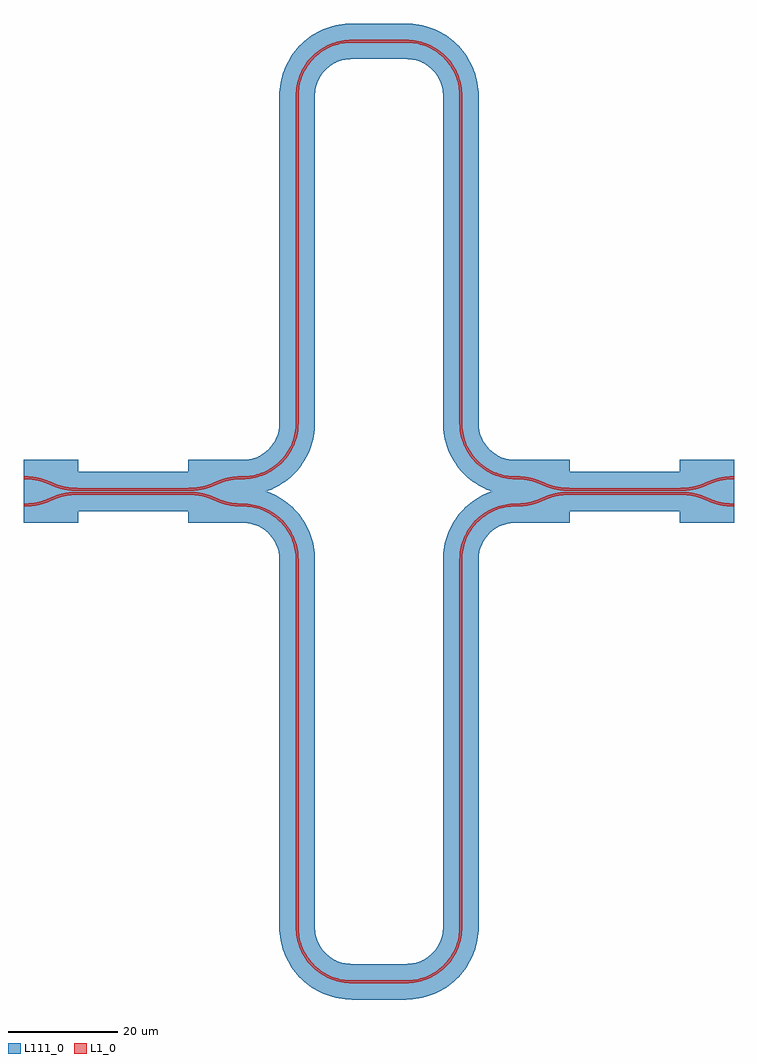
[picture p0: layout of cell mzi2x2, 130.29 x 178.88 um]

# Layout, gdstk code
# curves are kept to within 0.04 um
import gdstk
lib = gdstk.Library(unit=1e-6, precision=1e-09)
def R(c, l, rs):  # rectangles x0, y0, x1, y1
    for r in rs: c.add(gdstk.rectangle(r[:2], r[2:], *l))
def P(c, l, *ps):  # polygons
    for p in ps: c.add(gdstk.Polygon(p, *l))
L1_0 = (1, 0)
L111_0 = (111, 0)

mzi2x2 = lib.new_cell('mzi2x2')
R(mzi2x2, L1_0, [(20,-92.63,30,-92.13), (9.75,-82.38,10.25,-22.38), (39.75,-82.38,40.25,-22.38), (9.75,-22.38,10.25,-15), (39.75,-22.38,40.25,-15), (-30.147,-3.117,-10,-2.617), (60,-3.117,80.147,-2.617), (-30.147,-2.383,-10,-1.883), (60,-2.383,80.147,-1.883), (9.75,10,10.25,70), (39.75,10,40.25,70), (20,79.75,30,80.25)])
P(mzi2x2, L1_0, [(-30.147,-3.117),(-31.748,-3.203),(-33.1,-3.454),(-34.122,-3.783),(-36.334,-4.674),(-37.575,-5.015),(-38.738,-5.187),(-40.147,-5.25),(-40.147,-4.75),(-38.546,-4.664),(-37.194,-4.413),(-36.172,-4.084),(-33.96,-3.193),(-32.719,-2.852),(-31.556,-2.68),(-30.147,-2.617)],
  [(-30.147,-1.883),(-31.748,-1.797),(-33.1,-1.546),(-34.122,-1.217),(-36.334,-0.326),(-37.575,0.015),(-38.738,0.187),(-40.147,0.25),(-40.147,-0.25),(-38.546,-0.336),(-37.194,-0.587),(-36.172,-0.916),(-33.96,-1.807),(-32.719,-2.148),(-31.556,-2.32),(-30.147,-2.383)],
  [(-10,-1.883),(-8.399,-1.797),(-7.047,-1.546),(-6.025,-1.217),(-3.813,-0.326),(-2.572,0.015),(-1.409,0.187),(0,0.25),(0,-0.25),(-1.601,-0.336),(-2.953,-0.587),(-3.975,-0.916),(-6.187,-1.807),(-7.428,-2.148),(-8.591,-2.32),(-10,-2.383)],
  [(-10,-3.117),(-8.399,-3.203),(-7.047,-3.454),(-6.025,-3.783),(-3.813,-4.674),(-2.572,-5.015),(-1.409,-5.187),(0,-5.25),(0,-4.75),(-1.601,-4.664),(-2.953,-4.413),(-3.975,-4.084),(-6.187,-3.193),(-7.428,-2.852),(-8.591,-2.68),(-10,-2.617)],
  [(9.75,10),(9.593,8.259),(9.128,6.574),(8.37,4.999),(7.623,3.921),(7.047,3.262),(5.731,2.112),(4.23,1.216),(3.013,0.727),(2.17,0.494),(0.874,0.289),(0,0.25),(0,-0.25),(0.919,-0.209),(2.281,0.007),(3.167,0.252),(4.029,0.575),(4.857,0.974),(5.647,1.446),(6.391,1.986),(7.409,2.917),(8.014,3.609),(8.799,4.743),(9.425,5.971),(9.748,6.833),(9.993,7.719),(10.157,8.624),(10.25,10)],
  [(10.25,70),(10.407,71.741),(10.872,73.426),(11.63,75.001),(12.377,76.079),(12.953,76.738),(14.269,77.888),(15.77,78.784),(16.987,79.273),(17.83,79.506),(19.126,79.711),(20,79.75),(20,80.25),(19.081,80.209),(17.719,79.993),(16.833,79.748),(15.971,79.425),(15.143,79.026),(14.353,78.554),(13.609,78.014),(12.591,77.083),(11.986,76.391),(11.201,75.257),(10.575,74.029),(10.252,73.167),(10.007,72.281),(9.843,71.376),(9.75,70)],
  [(30,79.75),(31.741,79.593),(33.426,79.128),(35.001,78.37),(36.079,77.623),(36.738,77.047),(37.888,75.731),(38.784,74.23),(39.273,73.013),(39.506,72.17),(39.711,70.874),(39.75,70),(40.25,70),(40.209,70.919),(39.993,72.281),(39.748,73.167),(39.425,74.029),(39.026,74.857),(38.554,75.647),(38.014,76.391),(37.083,77.409),(36.391,78.014),(35.257,78.799),(34.029,79.425),(33.167,79.748),(32.281,79.993),(31.376,80.157),(30,80.25)],
  [(50,0.25),(48.259,0.407),(46.574,0.872),(44.999,1.63),(43.921,2.377),(43.262,2.953),(42.112,4.269),(41.216,5.77),(40.727,6.987),(40.494,7.83),(40.289,9.126),(40.25,10),(39.75,10),(39.791,9.081),(40.007,7.719),(40.252,6.833),(40.575,5.971),(40.974,5.143),(41.446,4.353),(41.986,3.609),(42.917,2.591),(43.609,1.986),(44.743,1.201),(45.971,0.575),(46.833,0.252),(47.719,0.007),(48.624,-0.157),(50,-0.25)],
  [(60,-3.117),(58.399,-3.203),(57.047,-3.454),(56.025,-3.783),(53.813,-4.674),(52.572,-5.015),(51.409,-5.187),(50,-5.25),(50,-4.75),(51.601,-4.664),(52.953,-4.413),(53.975,-4.084),(56.187,-3.193),(57.428,-2.852),(58.591,-2.68),(60,-2.617)],
  [(60,-1.883),(58.399,-1.797),(57.047,-1.546),(56.025,-1.217),(53.813,-0.326),(52.572,0.015),(51.409,0.187),(50,0.25),(50,-0.25),(51.601,-0.336),(52.953,-0.587),(53.975,-0.916),(56.187,-1.807),(57.428,-2.148),(58.591,-2.32),(60,-2.383)],
  [(80.147,-1.883),(81.748,-1.797),(83.1,-1.546),(84.122,-1.217),(86.334,-0.326),(87.575,0.015),(88.738,0.187),(90.147,0.25),(90.147,-0.25),(88.546,-0.336),(87.194,-0.587),(86.172,-0.916),(83.96,-1.807),(82.719,-2.148),(81.556,-2.32),(80.147,-2.383)],
  [(80.147,-3.117),(81.748,-3.203),(83.1,-3.454),(84.122,-3.783),(86.334,-4.674),(87.575,-5.015),(88.738,-5.187),(90.147,-5.25),(90.147,-4.75),(88.546,-4.664),(87.194,-4.413),(86.172,-4.084),(83.96,-3.193),(82.719,-2.852),(81.556,-2.68),(80.147,-2.617)],
  [(9.75,-15),(9.593,-13.259),(9.128,-11.574),(8.37,-9.999),(7.623,-8.921),(7.047,-8.262),(5.731,-7.112),(4.23,-6.216),(3.013,-5.727),(2.17,-5.494),(0.874,-5.289),(0,-5.25),(0,-4.75),(0.919,-4.791),(2.281,-5.007),(3.167,-5.252),(4.029,-5.575),(4.857,-5.974),(5.647,-6.446),(6.391,-6.986),(7.409,-7.917),(8.014,-8.609),(8.799,-9.743),(9.425,-10.971),(9.748,-11.833),(9.993,-12.719),(10.157,-13.624),(10.25,-15)],
  [(10.25,-82.38),(10.407,-84.121),(10.872,-85.806),(11.63,-87.381),(12.377,-88.459),(12.953,-89.118),(14.269,-90.268),(15.77,-91.164),(16.987,-91.653),(17.83,-91.886),(19.126,-92.091),(20,-92.13),(20,-92.63),(19.081,-92.589),(17.719,-92.373),(16.833,-92.128),(15.971,-91.805),(15.143,-91.406),(14.353,-90.934),(13.609,-90.394),(12.591,-89.463),(11.986,-88.771),(11.201,-87.637),(10.575,-86.409),(10.252,-85.547),(10.007,-84.661),(9.843,-83.756),(9.75,-82.38)],
  [(30,-92.13),(31.741,-91.973),(33.426,-91.508),(35.001,-90.75),(36.079,-90.003),(36.738,-89.427),(37.888,-88.111),(38.784,-86.61),(39.273,-85.393),(39.506,-84.55),(39.711,-83.254),(39.75,-82.38),(40.25,-82.38),(40.209,-83.299),(39.993,-84.661),(39.748,-85.547),(39.425,-86.409),(39.026,-87.237),(38.554,-88.027),(38.014,-88.771),(37.083,-89.789),(36.391,-90.394),(35.257,-91.179),(34.029,-91.805),(33.167,-92.128),(32.281,-92.373),(31.376,-92.537),(30,-92.63)],
  [(50,-5.25),(48.259,-5.407),(46.574,-5.872),(44.999,-6.63),(43.921,-7.377),(43.262,-7.953),(42.112,-9.269),(41.216,-10.77),(40.727,-11.987),(40.494,-12.83),(40.289,-14.126),(40.25,-15),(39.75,-15),(39.791,-14.081),(40.007,-12.719),(40.252,-11.833),(40.575,-10.971),(40.974,-10.143),(41.446,-9.353),(41.986,-8.609),(42.917,-7.591),(43.609,-6.986),(44.743,-6.201),(45.971,-5.575),(46.833,-5.252),(47.719,-5.007),(48.624,-4.843),(50,-4.75)])
R(mzi2x2, L111_0, [(20,-95.63,30,-89.13), (6.75,-82.38,13.25,-22.38), (36.75,-82.38,43.25,-22.38), (6.75,-22.38,13.25,-15), (36.75,-22.38,43.25,-15), (-40.147,-8.25,-30.147,0.383), (-10,-8.25,0,0.383), (50,-8.25,60,0.383), (80.147,-8.25,90.147,0.383), (-30.147,-6.117,-10,1.117), (60,-6.117,80.147,1.117), (-40.147,-5.383,-30.147,3.25), (-10,-5.383,0,3.25), (50,-5.383,60,3.25), (80.147,-5.383,90.147,3.25), (6.75,10,13.25,70), (36.75,10,43.25,70), (20,76.75,30,83.25)])
P(mzi2x2, L111_0, [(6.75,10),(6.642,8.795),(6.32,7.628),(5.795,6.538),(5.461,6.032),(4.879,5.335),(3.968,4.539),(3.462,4.205),(2.653,3.793),(2.086,3.58),(1.205,3.358),(0,3.25),(0,-3.25),(1.779,-3.13),(3.525,-2.773),(5.208,-2.184),(6.796,-1.374),(8.261,-0.359),(9.577,0.843),(10.719,2.212),(11.668,3.721),(12.184,4.792),(12.773,6.475),(13.13,8.221),(13.25,10)],
  [(13.25,70),(13.358,71.205),(13.68,72.372),(14.205,73.462),(14.539,73.968),(15.121,74.665),(16.032,75.461),(16.538,75.795),(17.347,76.207),(17.914,76.42),(18.795,76.642),(20,76.75),(20,83.25),(18.221,83.13),(16.475,82.773),(14.792,82.184),(13.204,81.374),(11.739,80.359),(10.423,79.157),(9.281,77.788),(8.332,76.279),(7.816,75.208),(7.227,73.525),(6.87,71.779),(6.75,70)],
  [(30,76.75),(31.205,76.642),(32.372,76.32),(33.462,75.795),(33.968,75.461),(34.665,74.879),(35.461,73.968),(35.795,73.462),(36.207,72.653),(36.42,72.086),(36.642,71.205),(36.75,70),(43.25,70),(43.13,71.779),(42.773,73.525),(42.184,75.208),(41.374,76.796),(40.359,78.261),(39.157,79.577),(37.788,80.719),(36.279,81.668),(35.208,82.184),(33.525,82.773),(31.779,83.13),(30,83.25)],
  [(50,3.25),(48.795,3.358),(47.628,3.68),(46.538,4.205),(46.032,4.539),(45.335,5.121),(44.539,6.032),(44.205,6.538),(43.793,7.347),(43.58,7.914),(43.358,8.795),(43.25,10),(36.75,10),(36.87,8.221),(37.227,6.475),(37.816,4.792),(38.626,3.204),(39.641,1.739),(40.843,0.423),(42.212,-0.719),(43.721,-1.668),(44.792,-2.184),(46.475,-2.773),(48.221,-3.13),(50,-3.25)],
  [(6.75,-15),(6.642,-13.795),(6.32,-12.628),(5.795,-11.538),(5.461,-11.032),(4.879,-10.335),(3.968,-9.539),(3.462,-9.205),(2.653,-8.793),(2.086,-8.58),(1.205,-8.358),(0,-8.25),(0,-1.75),(1.779,-1.87),(3.525,-2.227),(5.208,-2.816),(6.796,-3.626),(8.261,-4.641),(9.577,-5.843),(10.719,-7.212),(11.668,-8.721),(12.184,-9.792),(12.773,-11.475),(13.13,-13.221),(13.25,-15)],
  [(13.25,-82.38),(13.358,-83.585),(13.68,-84.752),(14.205,-85.842),(14.539,-86.348),(15.121,-87.045),(16.032,-87.841),(16.538,-88.175),(17.347,-88.587),(17.914,-88.8),(18.795,-89.022),(20,-89.13),(20,-95.63),(18.221,-95.51),(16.475,-95.153),(14.792,-94.564),(13.204,-93.754),(11.739,-92.739),(10.423,-91.537),(9.281,-90.168),(8.332,-88.659),(7.816,-87.588),(7.227,-85.905),(6.87,-84.159),(6.75,-82.38)],
  [(30,-89.13),(31.205,-89.022),(32.372,-88.7),(33.462,-88.175),(33.968,-87.841),(34.665,-87.259),(35.461,-86.348),(35.795,-85.842),(36.207,-85.033),(36.42,-84.466),(36.642,-83.585),(36.75,-82.38),(43.25,-82.38),(43.13,-84.159),(42.773,-85.905),(42.184,-87.588),(41.374,-89.176),(40.359,-90.641),(39.157,-91.957),(37.788,-93.099),(36.279,-94.048),(35.208,-94.564),(33.525,-95.153),(31.779,-95.51),(30,-95.63)],
  [(50,-8.25),(48.795,-8.358),(47.628,-8.68),(46.538,-9.205),(46.032,-9.539),(45.335,-10.121),(44.539,-11.032),(44.205,-11.538),(43.793,-12.347),(43.58,-12.914),(43.358,-13.795),(43.25,-15),(36.75,-15),(36.87,-13.221),(37.227,-11.475),(37.816,-9.792),(38.626,-8.204),(39.641,-6.739),(40.843,-5.423),(42.212,-4.281),(43.721,-3.332),(44.792,-2.816),(46.475,-2.227),(48.221,-1.87),(50,-1.75)])

lib.write_gds('mzi2x2.gds')
